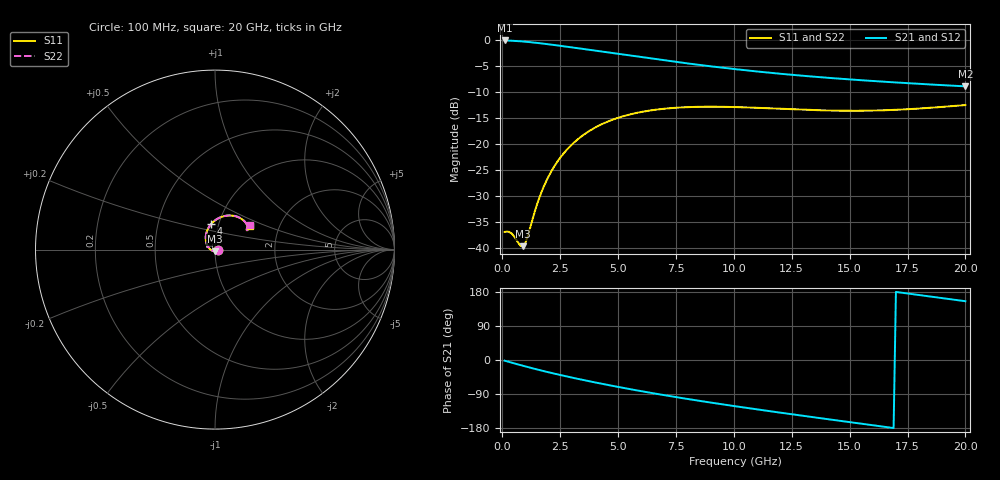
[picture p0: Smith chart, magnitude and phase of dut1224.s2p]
! Touchstone file exported from HFSS 2024.1.0
!  File:  C:/UserFiles/LocalFiles/RDL_TSV_Batchsim/temp_RDL_TSV_1224_1780262899.aedt
!  Generated:  05:42:55 AM Jun  1, 2026
!  Design:  RDL_TSV
!  Project:  temp_RDL_TSV_1224_1780262899
!  Setup:  Setup1
!  Solution:  Sweep
! Variables:
!  dtsv = 9.49um
!  hbump = 3um
!  htsv = 84.4um
!  ldown = 346.85um
!  lrdl = 457.48um
!  p = 40
!  p1 = 43.75um
!  rhole = 10um
!  subl = 2870.47um
!  t = 450um
!  tdown = 4.37um
!  trdl = 3um
!  viad = 10um
!  wdown = 15.05um
!  wrdl = 28.45um
!  xbump = 18um
# GHz S MA R 50.000000
! Terminal data exported
! Port[1] = TM1_1_T1
! Port[2] = TM1_4_T1
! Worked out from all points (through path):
!   200 points, 100 MHz to 20 GHz, reference 50 ohm
!   highest |S21| = -0.13 dB at 100 MHz (marker M1); lowest = -9.0 dB at 20 GHz (marker M2)
!   group delay of S21, straight-line fit = 26.9 ps
!   lowest |S11| = -39.7 dB at 900 MHz (marker M3), VSWR 1.02, Z = 49.8 - j1.02 ohm
!   |S11| at or under -10 dB: start of sweep to end of sweep
!   |S22| runs from -39.7 to -12.5 dB; largest |S21 - S12| = 2.4e-14
!   S11 on the Smith chart (normalised r, x): 100 MHz: 1.03, -0.00; 4 GHz: 0.92, +0.26; 20 GHz: 1.41, +0.40
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0.1  0.01419 -3.8  0.9853 -1.8  0.9853 -1.8  0.01419 -3.8
! Gamma 0 0 0 0
! Port Impedance 50 0 50 0
0.4  0.01374 -24.5  0.9793 -7.0  0.9793 -7.0  0.01373 -24.5
0.8  0.01039 -79.0  0.9666 -13.7  0.9666 -13.7  0.01037 -79.1
0.9  0.01036 -99.3  0.9627 -15.4  0.9627 -15.4  0.01034 -99.5
1  0.0112 -119.9  0.9584 -17.0  0.9584 -17.0  0.0112 -120.1
1.1  0.01296 -138.1  0.9539 -18.6  0.9539 -18.6  0.01298 -138.3
1.4  0.02218 -174.0  0.939 -23.4  0.939 -23.4  0.02225 -174.2
1.6  0.03024 171.5  0.9282 -26.4  0.9282 -26.4  0.03035 171.4
1.8  0.03915 160.6  0.9169 -29.5  0.9169 -29.5  0.03929 160.5
2.1  0.05345 147.7  0.8994 -33.9  0.8994 -33.9  0.05364 147.7
2.7  0.08329 128.4  0.8635 -42.3  0.8635 -42.3  0.08359 128.4
3.5  0.1214 109.1  0.8161 -52.8  0.8161 -52.8  0.1219 109.1
4  0.1427 99.1  0.7874 -59.1  0.7874 -59.1  0.1432 99.2
5.2  0.1834 79.8  0.7219 -73.3  0.7219 -73.3  0.1841 79.8
6.8  0.215 60.9  0.6436 -90.8  0.6436 -90.8  0.2158 60.9
8.4  0.2265 47.6  0.5775 -106.7  0.5775 -106.7  0.2274 47.7
10.1  0.2253 38.2  0.5208 -122.4  0.5208 -122.4  0.2262 38.3
11.7  0.2184 33.1  0.4784 -136.3  0.4784 -136.3  0.2193 33.3
13.4  0.2108 31.0  0.4428 -150.7  0.4428 -150.7  0.2117 31.2
15  0.2076 31.4  0.4158 -163.9  0.4158 -163.9  0.2084 31.6
16.7  0.2108 32.9  0.3924 -177.9  0.3924 -177.9  0.2117 33.2
20  0.2356 34.6  0.3566 155.1  0.3566 155.1  0.2368 34.9
